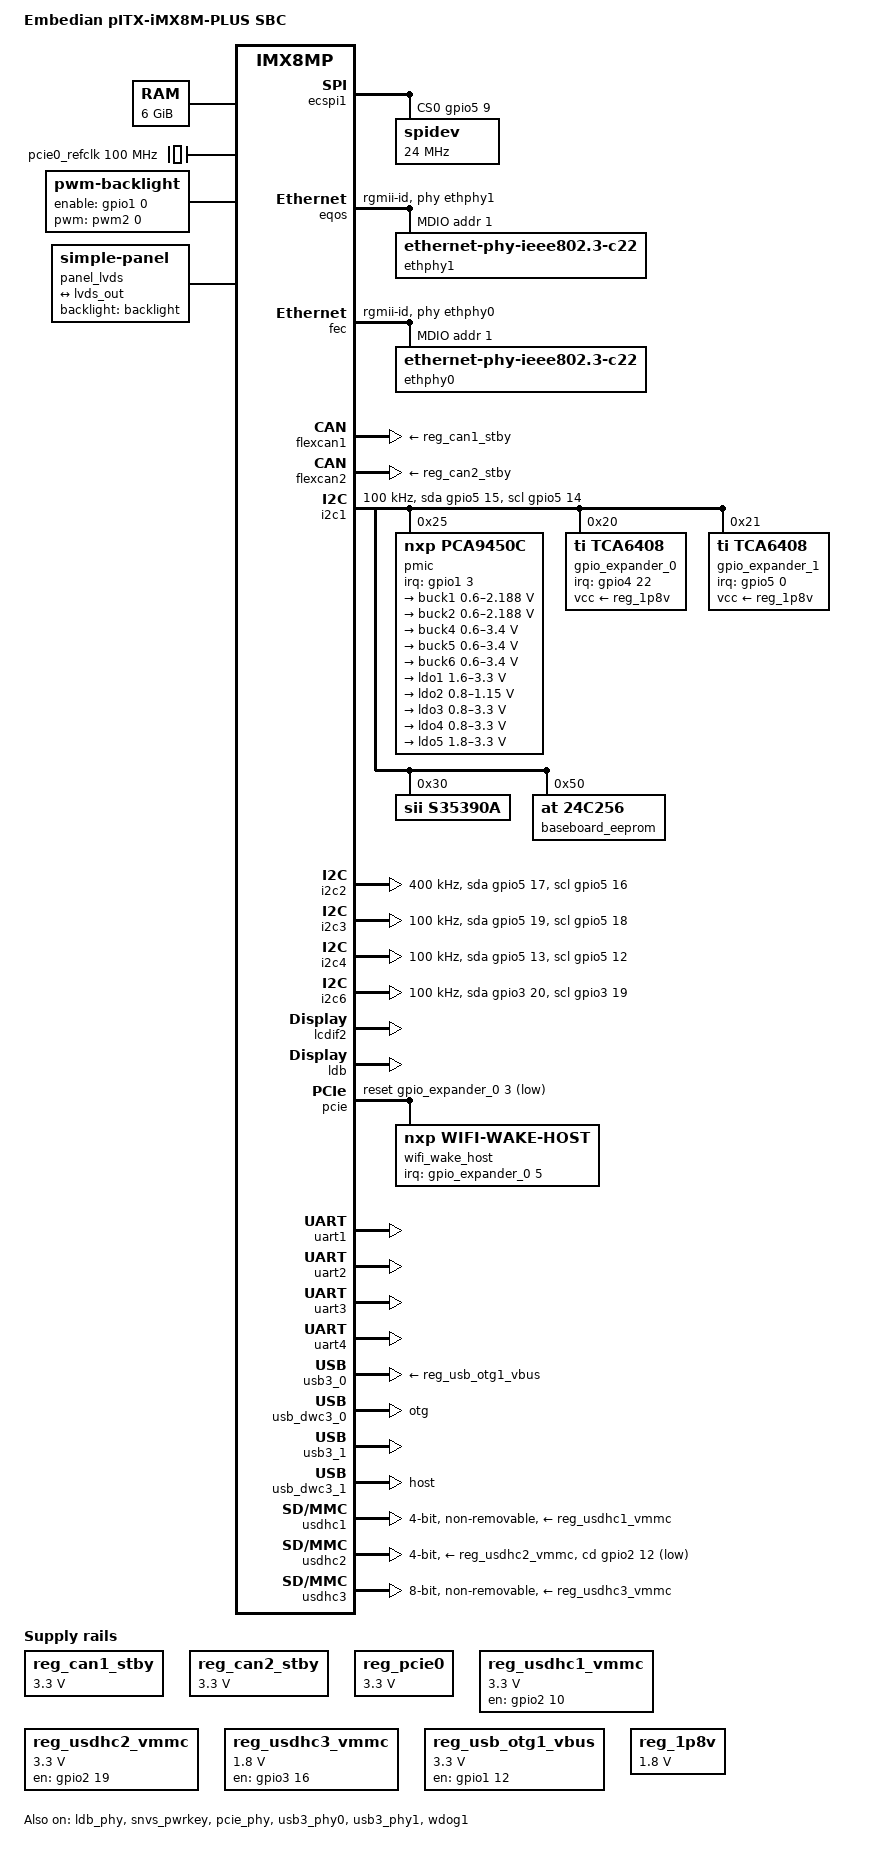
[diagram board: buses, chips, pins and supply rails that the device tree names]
// SPDX-License-Identifier: (GPL-2.0+ OR MIT)
/*
 * Copyright 2019 NXP
 * Copyright 2025 Embedian, Inc.
 */

/dts-v1/;

#include <dt-bindings/phy/phy-imx8-pcie.h>
#include <dt-bindings/usb/pd.h>
#include "imx8mp.dtsi"

/ {
	model = "Embedian pITX-iMX8M-PLUS SBC";
	compatible = "embedian,imx8mp-pitx", "fsl,imx8mp";

	chosen {
		bootargs = "console=ttymxc3,115200 earlycon=ec_imx6q,0x30a60000,115200";
		stdout-path = &uart4;
	};

	memory@40000000 {
		device_type = "memory";
		reg = <0x0 0x40000000 0 0xc0000000>,
		      <0x1 0x00000000 0 0xc0000000>;
	};

	pcie0_refclk: pcie0-refclk {
		compatible = "fixed-clock";
		#clock-cells = <0>;
		clock-frequency = <100000000>;
	};

	reg_can1_stby: regulator-can1-stby {
		compatible = "regulator-fixed";
		regulator-name = "can1-stby";
		regulator-min-microvolt = <3300000>;
		regulator-max-microvolt = <3300000>;
	};

	reg_can2_stby: regulator-can2-stby {
		compatible = "regulator-fixed";
		regulator-name = "can2-stby";
		regulator-min-microvolt = <3300000>;
		regulator-max-microvolt = <3300000>;
	};

	reg_pcie0: regulator-pcie {
		compatible = "regulator-fixed";
		pinctrl-names = "default";
		regulator-name = "MPCIE_3V3";
		regulator-min-microvolt = <3300000>;
		regulator-max-microvolt = <3300000>;
		regulator-always-on;
	};

        reg_usdhc1_vmmc: regulator-usdhc1 {
                compatible = "regulator-fixed";
                pinctrl-names = "default";
                pinctrl-0 = <&pinctrl_reg_usdhc1_vmmc>;
                regulator-name = "VSD1_3V3";
                regulator-min-microvolt = <3300000>;
                regulator-max-microvolt = <3300000>;
                gpio = <&gpio2 10 GPIO_ACTIVE_HIGH>;
                enable-active-high;
        };

	reg_usdhc2_vmmc: regulator-usdhc2 {
		compatible = "regulator-fixed";
		pinctrl-names = "default";
		pinctrl-0 = <&pinctrl_reg_usdhc2_vmmc>;
		regulator-name = "VSD2_3V3";
		regulator-min-microvolt = <3300000>;
		regulator-max-microvolt = <3300000>;
		gpio = <&gpio2 19 GPIO_ACTIVE_HIGH>;
		enable-active-high;
	};

	reg_usdhc3_vmmc: regulator-usdhc3 {
		compatible = "regulator-fixed";
		pinctrl-names = "default";
		pinctrl-0 = <&pinctrl_reg_usdhc3_vmmc>;
		regulator-min-microvolt = <1800000>;
		regulator-max-microvolt = <1800000>;
		gpio = <&gpio3 16 GPIO_ACTIVE_HIGH>;
		enable-active-high;
	};

	reg_usb_otg1_vbus: usbotg1_regulator {
		compatible = "regulator-fixed";
		regulator-name = "usb_otg1_vbus";
		regulator-min-microvolt = <3300000>;
		regulator-max-microvolt = <3300000>;
		gpio = <&gpio1 12 GPIO_ACTIVE_HIGH>;
		enable-active-high;
		regulator-always-on;
	};

	reg_1p8v: 1p8v {
		compatible = "regulator-fixed";
		regulator-name = "1P8V";
		regulator-min-microvolt = <1800000>;
		regulator-max-microvolt = <1800000>;
		regulator-always-on;
	};

	backlight: backlight {
		compatible = "pwm-backlight";
		pwms = <&pwm2 0 100000 0>;
		enable-gpios = <&gpio1 0 0>;	/* Enable LCD0_BKLT pin */
		status = "okay";

		brightness-levels = < 0  1  2  3  4  5  6  7  8  9
				     10 11 12 13 14 15 16 17 18 19
				     20 21 22 23 24 25 26 27 28 29
				     30 31 32 33 34 35 36 37 38 39
				     40 41 42 43 44 45 46 47 48 49
				     50 51 52 53 54 55 56 57 58 59
				     60 61 62 63 64 65 66 67 68 69
				     70 71 72 73 74 75 76 77 78 79
				     80 81 82 83 84 85 86 87 88 89
				     90 91 92 93 94 95 96 97 98 99
				    100>;
		default-brightness-level = <80>;
	};

	panel_lvds: panel-lvds {
		bootph-pre-ram;
		compatible = "simple-panel";
		status= "okay";
		backlight = <&backlight>;
		width-mm = <153>;
		height-mm = <86>;
		data-mapping = "jeida-24";
		display-timings {
			native-mode = <&timing0>;
			timing0: timing0 {
				bootph-pre-ram;
				clock-frequency = <74250000>;
				hactive = <800>;
				vactive = <480>;
				hback-porch = <40>;
				hfront-porch = <40>;
				vback-porch = <29>;
				vfront-porch = <13>;
				hsync-len = <48>;
				vsync-len = <3>;
				de-active = <1>;
			};
		};
		port@0 {
			lvds_in: endpoint {
				remote-endpoint = <&lvds_out>;
			};
		};
	};
};

/* SPI (on PIO) */
&ecspi1 {
	#address-cells = <1>;
	#size-cells = <0>;
	pinctrl-names = "default";
	pinctrl-0 = <&pinctrl_ecspi1>;
	cs-gpios = <&gpio5 9 0>;
	fsl,spi-num-chipselects = <1>;
	status = "okay";
	spidev@0 {
		reg = <0>;
		spi-max-frequency = <24000000>;
	};
};

&A53_0 {
	cpu-supply = <&buck2>;
};

&A53_1 {
	cpu-supply = <&buck2>;
};

&A53_2 {
	cpu-supply = <&buck2>;
};

&A53_3 {
	cpu-supply = <&buck2>;
};

&eqos {
	pinctrl-names = "default";
	pinctrl-0 = <&pinctrl_eqos>;
	phy-mode = "rgmii-id";
	phy-handle = <&ethphy1>;
	snps,force_thresh_dma_mode;
	snps,mtl-tx-config = <&mtl_tx_setup>;
	snps,mtl-rx-config = <&mtl_rx_setup>;
	status = "okay";

	mdio {
		compatible = "snps,dwmac-mdio";
		#address-cells = <1>;
		#size-cells = <0>;

		ethphy1: ethernet-phy@1 {
			compatible = "ethernet-phy-ieee802.3-c22";
			reg = <1>;
			realtek,clkout-disable;
		};
	};

	mtl_tx_setup: tx-queues-config {
		snps,tx-queues-to-use = <5>;
		snps,tx-sched-sp;
		queue0 {
			snps,dcb-algorithm;
			snps,priority = <0x1>;
		};
		queue1 {
			snps,dcb-algorithm;
			snps,priority = <0x2>;
		};
		queue2 {
			snps,dcb-algorithm;
			snps,priority = <0x4>;
		};
		queue3 {
			snps,dcb-algorithm;
			snps,priority = <0x8>;
		};
		queue4 {
			snps,dcb-algorithm;
			snps,priority = <0xf0>;
		};
	};
	mtl_rx_setup: rx-queues-config {
		snps,rx-queues-to-use = <5>;
		snps,rx-sched-sp;
		queue0 {
			snps,dcb-algorithm;
			snps,priority = <0x1>;
			snps,map-to-dma-channel = <0>;
		};
		queue1 {
			snps,dcb-algorithm;
			snps,priority = <0x2>;
			snps,map-to-dma-channel = <1>;
		};
		queue2 {
			snps,dcb-algorithm;
			snps,priority = <0x4>;
			snps,map-to-dma-channel = <2>;
		};
		queue3 {
			snps,dcb-algorithm;
			snps,priority = <0x8>;
			snps,map-to-dma-channel = <3>;
		};
		queue4 {
			snps,dcb-algorithm;
			snps,priority = <0xf0>;
			snps,map-to-dma-channel = <4>;
		};
	};
};

&fec {
	pinctrl-names = "default";
	pinctrl-0 = <&pinctrl_fec>;
	phy-mode = "rgmii-id";
	phy-handle = <&ethphy0>;
	fsl,magic-packet;
	status = "okay";

	mdio {
		#address-cells = <1>;
		#size-cells = <0>;

		ethphy0: ethernet-phy@1 {
			compatible = "ethernet-phy-ieee802.3-c22";
			reg = <1>;
			eee-broken-1000t;
			realtek,aldps-enable;
			realtek,clkout-disable;
		};
	};
};

&flexcan1 {
	pinctrl-names = "default";
	pinctrl-0 = <&pinctrl_flexcan1>;
	xceiver-supply = <&reg_can1_stby>;
	status = "okay";
};

&flexcan2 {
	pinctrl-names = "default";
	pinctrl-0 = <&pinctrl_flexcan2>;
	xceiver-supply = <&reg_can2_stby>;
	status = "okay";
};

/* I2C1 */
&i2c1 {
	clock-frequency = <100000>;
	pinctrl-names = "default", "gpio";
	pinctrl-0 = <&pinctrl_i2c1>;
	pinctrl-1 = <&pinctrl_i2c1_gpio>;
	scl-gpios = <&gpio5 14 GPIO_ACTIVE_HIGH>;
	sda-gpios = <&gpio5 15 GPIO_ACTIVE_HIGH>;
	status = "okay";

	pmic@25 {
		compatible = "nxp,pca9450c";
		reg = <0x25>;
		pinctrl-names = "default";
		pinctrl-0 = <&pinctrl_pmic>;
		interrupt-parent = <&gpio1>;
		interrupts = <3 IRQ_TYPE_LEVEL_LOW>;

		regulators {
			buck1: BUCK1 {
				regulator-name = "BUCK1";
				regulator-min-microvolt = <600000>;
				regulator-max-microvolt = <2187500>;
				regulator-boot-on;
				regulator-always-on;
				regulator-ramp-delay = <3125>;
			};

			buck2: BUCK2 {
				regulator-name = "BUCK2";
				regulator-min-microvolt = <600000>;
				regulator-max-microvolt = <2187500>;
				regulator-boot-on;
				regulator-always-on;
				regulator-ramp-delay = <3125>;
				nxp,dvs-run-voltage = <950000>;
				nxp,dvs-standby-voltage = <850000>;
			};

			buck4: BUCK4{
				regulator-name = "BUCK4";
				regulator-min-microvolt = <600000>;
				regulator-max-microvolt = <3400000>;
				regulator-boot-on;
				regulator-always-on;
			};

			buck5: BUCK5{
				regulator-name = "BUCK5";
				regulator-min-microvolt = <600000>;
				regulator-max-microvolt = <3400000>;
				regulator-boot-on;
				regulator-always-on;
			};

			buck6: BUCK6 {
				regulator-name = "BUCK6";
				regulator-min-microvolt = <600000>;
				regulator-max-microvolt = <3400000>;
				regulator-boot-on;
				regulator-always-on;
			};

			ldo1: LDO1 {
				regulator-name = "LDO1";
				regulator-min-microvolt = <1600000>;
				regulator-max-microvolt = <3300000>;
				regulator-boot-on;
				regulator-always-on;
			};

			ldo2: LDO2 {
				regulator-name = "LDO2";
				regulator-min-microvolt = <800000>;
				regulator-max-microvolt = <1150000>;
				regulator-boot-on;
				regulator-always-on;
			};

			ldo3: LDO3 {
				regulator-name = "LDO3";
				regulator-min-microvolt = <800000>;
				regulator-max-microvolt = <3300000>;
				regulator-boot-on;
				regulator-always-on;
			};

			ldo4: LDO4 {
				regulator-name = "LDO4";
				regulator-min-microvolt = <800000>;
				regulator-max-microvolt = <3300000>;
				regulator-boot-on;
				regulator-always-on;
			};

			ldo5: LDO5 {
				regulator-name = "LDO5";
				regulator-min-microvolt = <1800000>;
				regulator-max-microvolt = <3300000>;
				regulator-boot-on;
				regulator-always-on;
			};
		};
	};

	/*
	 * TCA6408 GPIO expander
	 *  0-WLAN_PWR_EN
	 *  1-M2_W_DISABLE1#
	 *  2-M2_W_DISABLE2#
	 *  3-M2_RESET#
	 *  4-PCIE_A_CKREQ#
	 *  5-PCIE_A_WAKE#
	 *  6-UART_WAKE#
	 *  7-
	*/
	gpio_expander_0: gpio-expander@20 {
		compatible = "ti,tca6408";
		reg = <0x20>;
		gpio-controller;
		vcc-supply = <&reg_1p8v>;
		#gpio-cells = <2>;
		interrupt-controller;
		#interrupt-cells = <2>;
		pinctrl-names = "default";
		pinctrl-0 = <&pinctrl_pca6408_a_int>;
		interrupt-parent = <&gpio4>;
		interrupts = <22 IRQ_TYPE_LEVEL_LOW>;

		wlan_pwr_en_hog {
			gpio-hog;
			gpios = <0 GPIO_ACTIVE_HIGH>;
			output-high;
			line-name = "wlan_pwr_en";
		};
		m2_w_disable1_hog {
			gpio-hog;
			gpios = <1 GPIO_ACTIVE_LOW>;
			output-high;
			line-name = "m2_w_disable1";
		};
		m2_w_disable2_hog {
			gpio-hog;
			gpios = <2 GPIO_ACTIVE_LOW>;
			output-high;
			line-name = "m2_w_disable2";
		};
		m2_reset_hog {
			gpio-hog;
			gpios = <3 GPIO_ACTIVE_LOW>;
			output;
			line-name = "m2_reset";
		};
		pcie_a_ckreq_hog {
			gpio-hog;
			gpios = <4 GPIO_ACTIVE_LOW>;
			input;
			line-name = "pcie_a_ckreq";
		};
		pcie_a_wake_hog {
			gpio-hog;
			gpios = <5 GPIO_ACTIVE_LOW>;
			input;
			line-name = "pcie_a_wake";
		};
		uart_wake_hog {
			gpio-hog;
			gpios = <6 GPIO_ACTIVE_LOW>;
			input;
			line-name = "uart_wake";
		};
	};

	/*
	 * TCA6408 GPIO expander
	 *  0-WWLAN_PWR_EN
	 *  1-WWAN_DISABLE1#
	 *  2-WWAN_DISABLE2#
	 *  3-WWAN_PERST#
	 *  4-NC
	 *  5-WWAN_WAKE#
	 *  6-NC
	 *  7-UIM_CD
	 */
	gpio_expander_1: gpio-expander@21 {
		compatible = "ti,tca6408";
		reg = <0x21>;
		gpio-controller;
		vcc-supply = <&reg_1p8v>;
		#gpio-cells = <2>;
		interrupt-controller;
		#interrupt-cells = <2>;
		pinctrl-names = "default";
		pinctrl-0 = <&pinctrl_pca6408_b_int>;
		interrupt-parent = <&gpio5>;
		interrupts = <0 IRQ_TYPE_LEVEL_LOW>;

		wwan_pwr_en_hog {
			gpio-hog;
			gpios = <0 GPIO_ACTIVE_HIGH>;
			output-high;
			line-name = "wwan_pwr_en";
		};
		wwan_w_disable1_hog {
			gpio-hog;
			gpios = <1 GPIO_ACTIVE_LOW>;
			output-high;
			line-name = "wwan_w_disable1";
		};
		wwan_w_disable2_hog {
			gpio-hog;
			gpios = <2 GPIO_ACTIVE_LOW>;
			output-high;
			line-name = "wwan_w_disable2";
		};
		wwan_perst_hog {
			gpio-hog;
			gpios = <3 GPIO_ACTIVE_LOW>;
			output;
			line-name = "wwan_perst";
		};
		wwan_wake_hog {
			gpio-hog;
			gpios = <5 GPIO_ACTIVE_LOW>;
			input;
			line-name = "wwan_wake";
		};
		uim_cd_hog {
			gpio-hog;
			gpios = <7 GPIO_ACTIVE_HIGH>;
			input;
			line-name = "uim_cd";
		};
	};


	s35390a: s35390a@30 {
		compatible = "sii,s35390a";
		reg = <0x30>;
	};

	baseboard_eeprom: baseboard_eeprom@50 {
		compatible = "at,24c256";
		reg = <0x50>;
	};
};

/* I2C2 (LVDS) */
&i2c2 {
	clock-frequency = <400000>;
	pinctrl-names = "default", "gpio";
	pinctrl-0 = <&pinctrl_i2c2>;
	pinctrl-1 = <&pinctrl_i2c2_gpio>;
	scl-gpios = <&gpio5 16 GPIO_ACTIVE_HIGH>;
	sda-gpios = <&gpio5 17 GPIO_ACTIVE_HIGH>;
	status = "okay";
};

/* I2C3 (on pIO) */
&i2c3 {
	clock-frequency = <100000>;
	pinctrl-names = "default", "gpio";
	pinctrl-0 = <&pinctrl_i2c3>;
	pinctrl-1 = <&pinctrl_i2c3_gpio>;
	scl-gpios = <&gpio5 18 GPIO_ACTIVE_HIGH>;
	sda-gpios = <&gpio5 19 GPIO_ACTIVE_HIGH>;
	status = "okay";
};

/* I2C4 (on CAM2 and pIO) */
&i2c4 {
	clock-frequency = <100000>;
	pinctrl-names = "default", "gpio";
	pinctrl-0 = <&pinctrl_i2c4>;
	pinctrl-1 = <&pinctrl_i2c4_gpio>;
	scl-gpios = <&gpio5 12 GPIO_ACTIVE_HIGH>;
	sda-gpios = <&gpio5 13 GPIO_ACTIVE_HIGH>;
	status = "okay";
};

/* I2C6 (on CAM1)*/
&i2c6 {
	clock-frequency = <100000>;
	pinctrl-names = "default", "gpio";
	pinctrl-0 = <&pinctrl_i2c6>;
	scl-gpios = <&gpio3 19 GPIO_ACTIVE_HIGH>;
	sda-gpios = <&gpio3 20 GPIO_ACTIVE_HIGH>;
	status = "okay";
};

/* MIPI-DSI */
&lcdif1 {
	status = "disabled";
};

/* LVDS */
&lcdif2 {
	status = "okay";
};

&ldb {
	status = "okay";

	lvds-channel@0 {
		fsl,data-mapping = "spwg";
		fsl,data-width = <24>;
		status = "okay";

		port@1 {
			reg = <1>;

			lvds_out: endpoint {
				remote-endpoint = <&lvds_in>;
			};
		};
	};
};

&ldb_phy {
	status = "okay";
};

&mipi_dsi {
	status = "disabled";
};

&snvs_pwrkey {
	status = "okay";
};

&pcie{
	pinctrl-names = "default";
	pinctrl-0 = <&pinctrl_pcie0>;
	reset-gpio = <&gpio_expander_0 3 GPIO_ACTIVE_LOW>;
	host-wake-gpio = <&gpio_expander_0 5 GPIO_ACTIVE_LOW>;
	vpcie-supply = <&reg_pcie0>;
	status = "okay";

	wifi_wake_host {
		compatible = "nxp,wifi-wake-host";
		interrupt-parent = <&gpio_expander_0>;
		interrupts = <5 IRQ_TYPE_LEVEL_LOW>;
		interrupt-names = "host-wake";
	};
};

&pcie_phy{
	fsl,refclk-pad-mode = <IMX8_PCIE_REFCLK_PAD_INPUT>;
	clocks = <&pcie0_refclk>;
	clock-names = "ref";
	status = "okay";
};

&uart1 { 
	/* M.2 */
	pinctrl-names = "default";
	pinctrl-0 = <&pinctrl_uart1>;
	status = "okay";
};

&uart2 {
	/* pIO */
	pinctrl-names = "default";
	pinctrl-0 = <&pinctrl_uart2>;
	status = "okay";
};

&uart3 {
	/* pIO */
	pinctrl-names = "default";
	pinctrl-0 = <&pinctrl_uart3>;
	status = "okay";
};

&uart4 {
	/* console */
	pinctrl-names = "default";
	pinctrl-0 = <&pinctrl_uart4>;
	status = "okay";
};

&usb3_phy0 {
	fsl,phy-tx-vref-tune = <0xe>;
	fsl,phy-tx-preemp-amp-tune = <3>;
	fsl,phy-tx-vboost-level = <5>;
	fsl,phy-comp-dis-tune = <7>;
	fsl,pcs-tx-deemph-3p5db = <0x21>;
	fsl,phy-pcs-tx-swing-full = <0x7f>;
	status = "okay";
};

&usb3_0 {
	pinctrl-names = "default";
	pinctrl-0 = <&pinctrl_usbotg1>;
	vbus-supply = <&reg_usb_otg1_vbus>;
	status = "okay";
};

&usb_dwc3_0 {
	dr_mode = "otg";
	hnp-disable;
	srp-disable;
	adp-disable;
	usb-role-switch;
	role-switch-default-mode = "peripheral";
	snps,dis-u1-entry-quirk;
	snps,dis-u2-entry-quirk;
	status = "okay";
};

&usb3_phy1 {
	fsl,phy-tx-preemp-amp-tune = <3>;
	fsl,phy-tx-vref-tune = <0xb>;
	status = "okay";
};

&usb3_1 {
	status = "okay";
};

&usb_dwc3_1 {
	dr_mode = "host";
	status = "okay";
};

/* M.2 */
&usdhc1 {
	assigned-clocks = <&clk IMX8MP_CLK_USDHC1>;
	assigned-clock-rates = <400000000>;
	pinctrl-names = "default", "state_100mhz", "state_200mhz";
	pinctrl-0 = <&pinctrl_usdhc1>;
	pinctrl-1 = <&pinctrl_usdhc1_100mhz>;
	pinctrl-2 = <&pinctrl_usdhc1_200mhz>;
	vmmc-supply = <&reg_usdhc1_vmmc>;
	bus-width = <4>;
	pm-ignore-notify;
	keep-power-in-suspend;
	non-removable;
	cap-power-off-card;
	status = "okay";
};

/* SD Card */
&usdhc2 {
	assigned-clocks = <&clk IMX8MP_CLK_USDHC2>;
	assigned-clock-rates = <400000000>;
	pinctrl-names = "default", "state_100mhz", "state_200mhz";
	pinctrl-0 = <&pinctrl_usdhc2>, <&pinctrl_usdhc2_gpio>;
	pinctrl-1 = <&pinctrl_usdhc2_100mhz>, <&pinctrl_usdhc2_gpio>;
	pinctrl-2 = <&pinctrl_usdhc2_200mhz>, <&pinctrl_usdhc2_gpio>;
	cd-gpios = <&gpio2 12 GPIO_ACTIVE_LOW>;
	vmmc-supply = <&reg_usdhc2_vmmc>;
	bus-width = <4>;
	status = "okay";
};

/* eMMC */
&usdhc3 {
	assigned-clocks = <&clk IMX8MP_CLK_USDHC3>;
	assigned-clock-rates = <400000000>;
	pinctrl-names = "default", "state_100mhz", "state_200mhz";
	pinctrl-0 = <&pinctrl_usdhc3>;
	pinctrl-1 = <&pinctrl_usdhc3_100mhz>;
	pinctrl-2 = <&pinctrl_usdhc3_200mhz>;
	bus-width = <8>;
	vmmc-supply = <&reg_usdhc3_vmmc>;
	non-removable;
	status = "okay";
};

&wdog1 {
	pinctrl-names = "default";
	pinctrl-0 = <&pinctrl_wdog>;
	fsl,ext-reset-output;
	status = "okay";
};

&iomuxc {
	pinctrl-names = "default";
	pinctrl-0 = <&pinctrl_hog>;

	pinctrl_hog: hoggrp {
		fsl,pins = <
			MX8MP_IOMUXC_HDMI_DDC_SCL__HDMIMIX_HDMI_SCL	0x400001c2
			MX8MP_IOMUXC_HDMI_DDC_SDA__HDMIMIX_HDMI_SDA	0x400001c2
			MX8MP_IOMUXC_HDMI_HPD__HDMIMIX_HDMI_HPD		0x40000010
			MX8MP_IOMUXC_HDMI_CEC__HDMIMIX_HDMI_CEC		0x40000010
			MX8MP_IOMUXC_SAI1_TXD6__GPIO4_IO18	0x19	/* LCD0_BKLT_EN */
			MX8MP_IOMUXC_SAI1_MCLK__GPIO4_IO20	0x19	/* LCD1_BKLT_EN */
			MX8MP_IOMUXC_SAI1_RXC__GPIO4_IO01	0x19	/* LCD0_VDD_EN */
			MX8MP_IOMUXC_SD2_WP__GPIO2_IO20		0x41	/* M.2_IRQ# */
			MX8MP_IOMUXC_SAI1_TXD7__GPIO4_IO19	0x141	/* TPM_IRQ# */
			MX8MP_IOMUXC_ECSPI2_MOSI__GPIO5_IO11	0x41	/* TPM_PP */
			MX8MP_IOMUXC_ECSPI2_SCLK__GPIO5_IO10	0x41	/* TPM_LP */
			MX8MP_IOMUXC_GPIO1_IO15__GPIO1_IO15	0x41	/* TS_INT# */
			MX8MP_IOMUXC_NAND_DQS__GPIO3_IO14	0x19	/* USB2_HUB_EN */
			MX8MP_IOMUXC_NAND_DATA00__GPIO3_IO06	0x19	/* CAM1_PWR# */
			MX8MP_IOMUXC_NAND_DATA01__GPIO3_IO07	0x19	/* CAM1_RST# */
			MX8MP_IOMUXC_SAI3_RXC__GPIO4_IO29	0x41	/* CAM1_VSYNC */
			MX8MP_IOMUXC_NAND_DATA02__GPIO3_IO08	0x19	/* CAM2_PWR# */
			MX8MP_IOMUXC_NAND_DATA03__GPIO3_IO09	0x19	/* CAM2_RST# */
			MX8MP_IOMUXC_SPDIF_EXT_CLK__GPIO5_IO05	0x19	/* EIO_PWR_EN */
			MX8MP_IOMUXC_SAI1_RXFS__GPIO4_IO00	0x41	/* CAM2_VSYNC */
			MX8MP_IOMUXC_SAI2_RXC__GPIO4_IO22	0x19
		>;
	};

	pinctrl_wdt: wdtgrp {
		fsl,pins = <
			MX8MP_IOMUXC_SAI2_MCLK__GPIO4_IO27	0x19	/* WDT_EN */
			MX8MP_IOMUXC_SAI1_RXD0__GPIO4_IO02	0x19	/* WDT_T_ME_OUT# */
		>;
	};

	pinctrl_pwm1: pwm1grp {
		fsl,pins = <
			MX8MP_IOMUXC_GPIO1_IO01__PWM1_OUT	0x116
		>;
	};

	pinctrl_pwm2: pwm2grp {
		fsl,pins = <
			MX8MP_IOMUXC_SAI5_RXD0__PWM2_OUT	0x116
		>;
	};

	pinctrl_pwm3: pwm3grp {
		fsl,pins = <
			MX8MP_IOMUXC_SPDIF_TX__PWM3_OUT		0x116
		>;
	};

	pinctrl_ecspi1: ecspi1grp {
		fsl,pins = <
			MX8MP_IOMUXC_ECSPI1_SCLK__ECSPI1_SCLK	0x82
			MX8MP_IOMUXC_ECSPI1_MOSI__ECSPI1_MOSI	0x82
			MX8MP_IOMUXC_ECSPI1_MISO__ECSPI1_MISO	0x82
		>;
	};

	pinctrl_ecspi1_cs: ecspi1cs {
		fsl,pins = <
			MX8MP_IOMUXC_ECSPI1_SS0__GPIO5_IO09	0x40000
		>;
	};

	pinctrl_ecspi2: ecspi2grp {
		fsl,pins = <
			MX8MP_IOMUXC_ECSPI2_SCLK__ECSPI2_SCLK	0x82
			MX8MP_IOMUXC_ECSPI2_MOSI__ECSPI2_MOSI	0x82
			MX8MP_IOMUXC_ECSPI2_MISO__ECSPI2_MISO	0x82
		>;
	};

	pinctrl_ecspi2_cs: ecspi2cs {
		fsl,pins = <
			MX8MP_IOMUXC_ECSPI2_SS0__GPIO5_IO13	0x40000
		>;
	};

	pinctrl_ecspi3: ecspi3grp {
		fsl,pins = <
			MX8MP_IOMUXC_UART1_RXD__ECSPI3_SCLK	0x82
			MX8MP_IOMUXC_UART1_TXD__ECSPI3_MOSI	0x82
			MX8MP_IOMUXC_UART2_RXD__ECSPI3_MISO	0x82
		>;
	};

	pinctrl_ecspi3_cs: ecspi3cs {
		fsl,pins = <
			MX8MP_IOMUXC_UART2_TXD__GPIO5_IO25	0x40000
			MX8MP_IOMUXC_UART3_RXD__GPIO5_IO26	0x40000
		>;
	};

	pinctrl_eqos: eqosgrp {
		fsl,pins = <
			MX8MP_IOMUXC_ENET_MDC__ENET_QOS_MDC				0x2
			MX8MP_IOMUXC_ENET_MDIO__ENET_QOS_MDIO				0x2
			MX8MP_IOMUXC_ENET_RD0__ENET_QOS_RGMII_RD0			0x90
			MX8MP_IOMUXC_ENET_RD1__ENET_QOS_RGMII_RD1			0x90
			MX8MP_IOMUXC_ENET_RD2__ENET_QOS_RGMII_RD2			0x90
			MX8MP_IOMUXC_ENET_RD3__ENET_QOS_RGMII_RD3			0x90
			MX8MP_IOMUXC_ENET_RXC__CCM_ENET_QOS_CLOCK_GENERATE_RX_CLK	0x90
			MX8MP_IOMUXC_ENET_RX_CTL__ENET_QOS_RGMII_RX_CTL			0x90
			MX8MP_IOMUXC_ENET_TD0__ENET_QOS_RGMII_TD0			0x16
			MX8MP_IOMUXC_ENET_TD1__ENET_QOS_RGMII_TD1			0x16
			MX8MP_IOMUXC_ENET_TD2__ENET_QOS_RGMII_TD2			0x16
			MX8MP_IOMUXC_ENET_TD3__ENET_QOS_RGMII_TD3			0x16
			MX8MP_IOMUXC_ENET_TX_CTL__ENET_QOS_RGMII_TX_CTL			0x16
			MX8MP_IOMUXC_ENET_TXC__CCM_ENET_QOS_CLOCK_GENERATE_TX_CLK	0x16
			MX8MP_IOMUXC_SAI2_RXFS__GPIO4_IO21				0x42
		>;
	};

	pinctrl_fec: fecgrp {
		fsl,pins = <
			MX8MP_IOMUXC_SAI1_RXD2__ENET1_MDC		0x2
			MX8MP_IOMUXC_SAI1_RXD3__ENET1_MDIO		0x2
			MX8MP_IOMUXC_SAI1_RXD4__ENET1_RGMII_RD0		0x90
			MX8MP_IOMUXC_SAI1_RXD5__ENET1_RGMII_RD1		0x90
			MX8MP_IOMUXC_SAI1_RXD6__ENET1_RGMII_RD2		0x90
			MX8MP_IOMUXC_SAI1_RXD7__ENET1_RGMII_RD3		0x90
			MX8MP_IOMUXC_SAI1_TXC__ENET1_RGMII_RXC		0x90
			MX8MP_IOMUXC_SAI1_TXFS__ENET1_RGMII_RX_CTL	0x90
			MX8MP_IOMUXC_SAI1_TXD0__ENET1_RGMII_TD0		0x16
			MX8MP_IOMUXC_SAI1_TXD1__ENET1_RGMII_TD1		0x16
			MX8MP_IOMUXC_SAI1_TXD2__ENET1_RGMII_TD2		0x16
			MX8MP_IOMUXC_SAI1_TXD3__ENET1_RGMII_TD3		0x16
			MX8MP_IOMUXC_SAI1_TXD4__ENET1_RGMII_TX_CTL	0x16
			MX8MP_IOMUXC_SAI1_TXD5__ENET1_RGMII_TXC		0x16
			MX8MP_IOMUXC_SAI1_RXD1__GPIO4_IO03		0x42
		>;
	};

	pinctrl_flexcan1: flexcan1grp {
		fsl,pins = <
			MX8MP_IOMUXC_SAI5_RXD2__CAN1_RX		0x154
			MX8MP_IOMUXC_SAI5_RXD1__CAN1_TX		0x154
		>;
	};

	pinctrl_flexcan2: flexcan2grp {
		fsl,pins = <
			MX8MP_IOMUXC_SAI5_MCLK__CAN2_RX		0x154
			MX8MP_IOMUXC_SAI5_RXD3__CAN2_TX		0x154
		>;
	};

	pinctrl_flexcan1_reg: flexcan1reggrp {
		fsl,pins = <
			MX8MP_IOMUXC_SPDIF_EXT_CLK__GPIO5_IO05	0x154	/* CAN1_STBY */
		>;
	};

	pinctrl_flexcan2_reg: flexcan2reggrp {
		fsl,pins = <
			MX8MP_IOMUXC_SAI2_MCLK__GPIO4_IO27	0x154	/* CAN2_STBY */
		>;
	};

	pinctrl_flexspi0: flexspi0grp {
		fsl,pins = <
			MX8MP_IOMUXC_NAND_ALE__FLEXSPI_A_SCLK           0x1c2
			MX8MP_IOMUXC_NAND_CE0_B__FLEXSPI_A_SS0_B        0x82
			MX8MP_IOMUXC_NAND_DATA00__FLEXSPI_A_DATA00      0x82
			MX8MP_IOMUXC_NAND_DATA01__FLEXSPI_A_DATA01      0x82
			MX8MP_IOMUXC_NAND_DATA02__FLEXSPI_A_DATA02      0x82
			MX8MP_IOMUXC_NAND_DATA03__FLEXSPI_A_DATA03      0x82
		>;
	};

	pinctrl_gpio_led: gpioledgrp {
		fsl,pins = <
			MX8MP_IOMUXC_I2C4_SDA__GPIO5_IO21	0x19
		>;
	};

	pinctrl_i2c1: i2c1grp {
		fsl,pins = <
			MX8MP_IOMUXC_I2C1_SCL__I2C1_SCL		0x400001c2
			MX8MP_IOMUXC_I2C1_SDA__I2C1_SDA		0x400001c2
		>;
	};

	pinctrl_i2c2: i2c2grp {
		fsl,pins = <
			MX8MP_IOMUXC_I2C2_SCL__I2C2_SCL		0x400001c2
			MX8MP_IOMUXC_I2C2_SDA__I2C2_SDA		0x400001c2
		>;
	};

	pinctrl_i2c3: i2c3grp {
		fsl,pins = <
			MX8MP_IOMUXC_I2C3_SCL__I2C3_SCL		0x400001c2
			MX8MP_IOMUXC_I2C3_SDA__I2C3_SDA		0x400001c2
		>;
	};

	pinctrl_i2c4: i2c4grp {
		fsl,pins = <
			MX8MP_IOMUXC_ECSPI2_MISO__I2C4_SCL	0x400001c3
			MX8MP_IOMUXC_ECSPI2_SS0__I2C4_SDA	0x400001c3
		>;
	};

	pinctrl_i2c6: i2c6grp {
		fsl,pins = <
			MX8MP_IOMUXC_SAI5_RXFS__I2C6_SCL	0x400001c3
			MX8MP_IOMUXC_SAI5_RXC__I2C6_SDA		0x400001c3
		>;
	};

	pinctrl_mipi_dsi_en: mipi_dsi_engrp {
		fsl,pins = <
			MX8MP_IOMUXC_GPIO1_IO08__GPIO1_IO08	0x16
		>;
	};

	pinctrl_pcie0: pcie0grp {
		fsl,pins = <
			MX8MP_IOMUXC_I2C4_SCL__PCIE_CLKREQ_B	0x60	/* open drain, pull up */
		>;
	};

	pinctrl_pca6408_a_int: pca6408_a_intgrp {
		fsl,pins = <
			MX8MP_IOMUXC_SAI2_RXC__GPIO4_IO22	0x146	/* Input pull-up. */
		>;
	};

	pinctrl_pca6408_b_int: pca6408_b_intgrp {
		fsl,pins = <
			MX8MP_IOMUXC_SAI3_TXC__GPIO5_IO00	0x146	/* Input pull-up. */
		>;
	};

	pinctrl_pmic: pmicgrp {
		fsl,pins = <
			MX8MP_IOMUXC_GPIO1_IO03__GPIO1_IO03	0x000001c0
		>;
	};

	pinctrl_reg_usdhc1_vmmc: regusdhc1vmmcgrp {
		fsl,pins = <
			MX8MP_IOMUXC_SD1_RESET_B__GPIO2_IO10	0x41
		>;
	};

	pinctrl_reg_usdhc2_vmmc: regusdhc2vmmcgrp {
		fsl,pins = <
			MX8MP_IOMUXC_SD2_RESET_B__GPIO2_IO19	0x40
		>;
	};

        pinctrl_reg_usdhc3_vmmc: regusdhc3vmmcgrp {
                fsl,pins = <
                        MX8MP_IOMUXC_NAND_READY_B__GPIO3_IO16	0x40
                >;
        };

	pinctrl_i2c1_gpio: i2c1gpiogrp {
		fsl,pins = <
			MX8MP_IOMUXC_I2C1_SCL__GPIO5_IO14		0x1c3
			MX8MP_IOMUXC_I2C1_SDA__GPIO5_IO15		0x1c3
		>;
	};

	pinctrl_i2c2_gpio: i2c2gpiogrp {
		fsl,pins = <
			MX8MP_IOMUXC_I2C2_SCL__GPIO5_IO16		0x1c3
			MX8MP_IOMUXC_I2C2_SDA__GPIO5_IO17		0x1c3
		>;
	};

	pinctrl_i2c3_gpio: i2c3gpiogrp {
		fsl,pins = <
			MX8MP_IOMUXC_I2C3_SCL__GPIO5_IO18		0x1c3
			MX8MP_IOMUXC_I2C3_SDA__GPIO5_IO19		0x1c3
		>;
	};

	pinctrl_i2c4_gpio: i2c4grp-gpio {
		fsl,pins = <
			MX8MP_IOMUXC_ECSPI2_MISO__GPIO5_IO12		0x1c3
			MX8MP_IOMUXC_ECSPI2_SS0__GPIO5_IO13		0x1c3
		>;
	};

	pinctrl_i2c6_gpio: i2c6grp-gpio {
		fsl,pins = <
			MX8MP_IOMUXC_SAI5_RXFS__GPIO3_IO19		0x1c3
			MX8MP_IOMUXC_SAI5_RXC__GPIO3_IO20		0x1c3
		>;
	};

	pinctrl_pdm: pdmgrp {
		fsl,pins = <
			MX8MP_IOMUXC_SAI5_RXC__AUDIOMIX_PDM_CLK		0xd6
			MX8MP_IOMUXC_SAI5_RXD0__AUDIOMIX_PDM_BIT_STREAM00	0xd6
			MX8MP_IOMUXC_SAI5_RXD1__AUDIOMIX_PDM_BIT_STREAM01	0xd6
			MX8MP_IOMUXC_SAI5_RXD2__AUDIOMIX_PDM_BIT_STREAM02	0xd6
			MX8MP_IOMUXC_SAI5_RXD3__AUDIOMIX_PDM_BIT_STREAM03	0xd6
		>;
	};

	pinctrl_sai2: sai2grp {
		fsl,pins = <
			MX8MP_IOMUXC_SAI2_TXC__AUDIOMIX_SAI2_TX_BCLK	0xd6
			MX8MP_IOMUXC_SAI2_TXFS__AUDIOMIX_SAI2_TX_SYNC	0xd6
			MX8MP_IOMUXC_SAI2_TXD0__AUDIOMIX_SAI2_TX_DATA00	0xd6
			MX8MP_IOMUXC_SAI2_RXD0__AUDIOMIX_SAI2_RX_DATA00	0xd6
		>;
	};

	pinctrl_sai3: sai3grp {
		fsl,pins = <
			MX8MP_IOMUXC_SAI3_TXFS__AUDIOMIX_SAI3_TX_SYNC		0xd6
			MX8MP_IOMUXC_NAND_ALE__AUDIOMIX_SAI3_TX_BCLK		0xd6
			MX8MP_IOMUXC_SAI3_RXD__AUDIOMIX_SAI3_RX_DATA00		0xd6
			MX8MP_IOMUXC_NAND_CE0_B__AUDIOMIX_SAI3_TX_DATA00	0xd6
			MX8MP_IOMUXC_SAI3_MCLK__AUDIOMIX_SAI3_MCLK		0xd6
			MX8MP_IOMUXC_SAI3_RXFS__GPIO4_IO28			0x41
		>;
	};

	pinctrl_i2c2_synaptics_dsx_io: synaptics_dsx_iogrp {
		fsl,pins = <
			MX8MP_IOMUXC_GPIO1_IO09__GPIO1_IO09		0x16
		>;
	};

	pinctrl_uart1: uart1grp {
		fsl,pins = <
			MX8MP_IOMUXC_UART1_RXD__UART1_DCE_RX	0x140
			MX8MP_IOMUXC_UART1_TXD__UART1_DCE_TX	0x140
			MX8MP_IOMUXC_UART3_RXD__UART1_DCE_CTS	0x140
			MX8MP_IOMUXC_UART3_TXD__UART1_DCE_RTS	0x140
		>;
	};

	pinctrl_typec: typec1grp {
		fsl,pins = <
			MX8MP_IOMUXC_SAI1_TXD7__GPIO4_IO19	0x1c4
		>;
	};

	pinctrl_typec_mux: typec1muxgrp {
		fsl,pins = <
			MX8MP_IOMUXC_SAI1_MCLK__GPIO4_IO20	0x16
		>;
	};

	pinctrl_uart2: uart2grp {
		fsl,pins = <
			MX8MP_IOMUXC_UART2_RXD__UART2_DCE_RX	0x140
			MX8MP_IOMUXC_UART2_TXD__UART2_DCE_TX	0x140
			MX8MP_IOMUXC_SD1_DATA4__UART2_DCE_RTS	0x140
			MX8MP_IOMUXC_SD1_DATA5__UART2_DCE_CTS	0x140
		>;
	};

	pinctrl_uart3: uart3grp {
		fsl,pins = <
			MX8MP_IOMUXC_SD1_DATA7__UART3_DCE_RX	0x140
			MX8MP_IOMUXC_SD1_DATA6__UART3_DCE_TX	0x140
		>;
	};

	pinctrl_uart4: uart4grp {
		fsl,pins = <
			MX8MP_IOMUXC_UART4_RXD__UART4_DCE_RX	0x140
			MX8MP_IOMUXC_UART4_TXD__UART4_DCE_TX	0x140
		>;
	};

	pinctrl_usb1_vbus: usb1grp {
		fsl,pins = <
			MX8MP_IOMUXC_GPIO1_IO12__GPIO1_IO12	0x10
		>;
	};

	pinctrl_usbotg1: usbotg1grp {
		fsl,pins = <
			MX8MP_IOMUXC_GPIO1_IO10__USB1_ID	0x41	/* USB1_ID */
			MX8MP_IOMUXC_GPIO1_IO13__GPIO1_IO13	0x41	/* USB1_OC# */
		>;
	};

	pinctrl_usdhc1: usdhc1grp {
		fsl,pins = <
			MX8MP_IOMUXC_SD1_CLK__USDHC1_CLK	0x190
			MX8MP_IOMUXC_SD1_CMD__USDHC1_CMD	0x1d0
			MX8MP_IOMUXC_SD1_DATA0__USDHC1_DATA0	0x1d0
			MX8MP_IOMUXC_SD1_DATA1__USDHC1_DATA1	0x1d0
			MX8MP_IOMUXC_SD1_DATA2__USDHC1_DATA2	0x1d0
			MX8MP_IOMUXC_SD1_DATA3__USDHC1_DATA3	0x1d0
			MX8MP_IOMUXC_SD1_STROBE__USDHC1_STROBE	0x190
		>;
	};

	pinctrl_usdhc1_100mhz: usdhc1-100mhzgrp {
		fsl,pins = <
			MX8MP_IOMUXC_SD1_CLK__USDHC1_CLK	0x194
			MX8MP_IOMUXC_SD1_CMD__USDHC1_CMD	0x1d4
			MX8MP_IOMUXC_SD1_DATA0__USDHC1_DATA0	0x1d4
			MX8MP_IOMUXC_SD1_DATA1__USDHC1_DATA1	0x1d4
			MX8MP_IOMUXC_SD1_DATA2__USDHC1_DATA2	0x1d4
			MX8MP_IOMUXC_SD1_DATA3__USDHC1_DATA3	0x1d4
			MX8MP_IOMUXC_SD1_STROBE__USDHC1_STROBE	0x194
		>;
	};

	pinctrl_usdhc1_200mhz: usdhc1-200mhzgrp {
		fsl,pins = <
			MX8MP_IOMUXC_SD1_CLK__USDHC1_CLK	0x196
			MX8MP_IOMUXC_SD1_CMD__USDHC1_CMD	0x1d6
			MX8MP_IOMUXC_SD1_DATA0__USDHC1_DATA0	0x1d6
			MX8MP_IOMUXC_SD1_DATA1__USDHC1_DATA1	0x1d6
			MX8MP_IOMUXC_SD1_DATA2__USDHC1_DATA2	0x1d6
			MX8MP_IOMUXC_SD1_DATA3__USDHC1_DATA3	0x1d6
			MX8MP_IOMUXC_SD1_STROBE__USDHC1_STROBE	0x196
		>;
	};

	pinctrl_usdhc2: usdhc2grp {
		fsl,pins = <
			MX8MP_IOMUXC_SD2_CLK__USDHC2_CLK	0x190
			MX8MP_IOMUXC_SD2_CMD__USDHC2_CMD	0x1d0
			MX8MP_IOMUXC_SD2_DATA0__USDHC2_DATA0	0x1d0
			MX8MP_IOMUXC_SD2_DATA1__USDHC2_DATA1	0x1d0
			MX8MP_IOMUXC_SD2_DATA2__USDHC2_DATA2	0x1d0
			MX8MP_IOMUXC_SD2_DATA3__USDHC2_DATA3	0x1d0
			MX8MP_IOMUXC_GPIO1_IO04__USDHC2_VSELECT	0xc0
		>;
	};

	pinctrl_usdhc2_100mhz: usdhc2-100mhzgrp {
		fsl,pins = <
			MX8MP_IOMUXC_SD2_CLK__USDHC2_CLK	0x194
			MX8MP_IOMUXC_SD2_CMD__USDHC2_CMD	0x1d4
			MX8MP_IOMUXC_SD2_DATA0__USDHC2_DATA0	0x1d4
			MX8MP_IOMUXC_SD2_DATA1__USDHC2_DATA1	0x1d4
			MX8MP_IOMUXC_SD2_DATA2__USDHC2_DATA2	0x1d4
			MX8MP_IOMUXC_SD2_DATA3__USDHC2_DATA3	0x1d4
			MX8MP_IOMUXC_GPIO1_IO04__USDHC2_VSELECT 0xc0
		>;
	};

	pinctrl_usdhc2_200mhz: usdhc2-200mhzgrp {
		fsl,pins = <
			MX8MP_IOMUXC_SD2_CLK__USDHC2_CLK	0x196
			MX8MP_IOMUXC_SD2_CMD__USDHC2_CMD	0x1d6
			MX8MP_IOMUXC_SD2_DATA0__USDHC2_DATA0	0x1d6
			MX8MP_IOMUXC_SD2_DATA1__USDHC2_DATA1	0x1d6
			MX8MP_IOMUXC_SD2_DATA2__USDHC2_DATA2	0x1d6
			MX8MP_IOMUXC_SD2_DATA3__USDHC2_DATA3	0x1d6
			MX8MP_IOMUXC_GPIO1_IO04__USDHC2_VSELECT 0xc0
		>;
	};

	pinctrl_usdhc2_gpio: usdhc2gpiogrp {
		fsl,pins = <
			MX8MP_IOMUXC_SD2_CD_B__GPIO2_IO12	0x1c4
		>;
	};

	pinctrl_usdhc3: usdhc3grp {
		fsl,pins = <
			MX8MP_IOMUXC_NAND_WE_B__USDHC3_CLK	0x190
			MX8MP_IOMUXC_NAND_WP_B__USDHC3_CMD	0x1d0
			MX8MP_IOMUXC_NAND_DATA04__USDHC3_DATA0	0x1d0
			MX8MP_IOMUXC_NAND_DATA05__USDHC3_DATA1	0x1d0
			MX8MP_IOMUXC_NAND_DATA06__USDHC3_DATA2	0x1d0
			MX8MP_IOMUXC_NAND_DATA07__USDHC3_DATA3	0x1d0
			MX8MP_IOMUXC_NAND_RE_B__USDHC3_DATA4	0x1d0
			MX8MP_IOMUXC_NAND_CE2_B__USDHC3_DATA5	0x1d0
			MX8MP_IOMUXC_NAND_CE3_B__USDHC3_DATA6	0x1d0
			MX8MP_IOMUXC_NAND_CLE__USDHC3_DATA7	0x1d0
			MX8MP_IOMUXC_NAND_CE1_B__USDHC3_STROBE	0x190
		>;
	};

	pinctrl_usdhc3_100mhz: usdhc3-100mhzgrp {
		fsl,pins = <
			MX8MP_IOMUXC_NAND_WE_B__USDHC3_CLK	0x194
			MX8MP_IOMUXC_NAND_WP_B__USDHC3_CMD	0x1d4
			MX8MP_IOMUXC_NAND_DATA04__USDHC3_DATA0	0x1d4
			MX8MP_IOMUXC_NAND_DATA05__USDHC3_DATA1	0x1d4
			MX8MP_IOMUXC_NAND_DATA06__USDHC3_DATA2	0x1d4
			MX8MP_IOMUXC_NAND_DATA07__USDHC3_DATA3	0x1d4
			MX8MP_IOMUXC_NAND_RE_B__USDHC3_DATA4	0x1d4
			MX8MP_IOMUXC_NAND_CE2_B__USDHC3_DATA5	0x1d4
			MX8MP_IOMUXC_NAND_CE3_B__USDHC3_DATA6	0x1d4
			MX8MP_IOMUXC_NAND_CLE__USDHC3_DATA7	0x1d4
			MX8MP_IOMUXC_NAND_CE1_B__USDHC3_STROBE	0x194
		>;
	};

	pinctrl_usdhc3_200mhz: usdhc3-200mhzgrp {
		fsl,pins = <
			MX8MP_IOMUXC_NAND_WE_B__USDHC3_CLK	0x196
			MX8MP_IOMUXC_NAND_WP_B__USDHC3_CMD	0x1d6
			MX8MP_IOMUXC_NAND_DATA04__USDHC3_DATA0	0x1d6
			MX8MP_IOMUXC_NAND_DATA05__USDHC3_DATA1	0x1d6
			MX8MP_IOMUXC_NAND_DATA06__USDHC3_DATA2	0x1d6
			MX8MP_IOMUXC_NAND_DATA07__USDHC3_DATA3	0x1d6
			MX8MP_IOMUXC_NAND_RE_B__USDHC3_DATA4	0x1d6
			MX8MP_IOMUXC_NAND_CE2_B__USDHC3_DATA5	0x1d6
			MX8MP_IOMUXC_NAND_CE3_B__USDHC3_DATA6	0x1d6
			MX8MP_IOMUXC_NAND_CLE__USDHC3_DATA7	0x1d6
			MX8MP_IOMUXC_NAND_CE1_B__USDHC3_STROBE	0x196
		>;
	};

	pinctrl_wdog: wdoggrp {
		fsl,pins = <
			MX8MP_IOMUXC_GPIO1_IO02__WDOG1_WDOG_B	0x166
		>;
	};

	pinctrl_csi0_pwn: csi0_pwn_grp {
		fsl,pins = <
			MX8MP_IOMUXC_NAND_DATA00__GPIO3_IO06	0x10
		>;
	};

	pinctrl_csi0_rst: csi0_rst_grp {
		fsl,pins = <
			MX8MP_IOMUXC_NAND_DATA01__GPIO3_IO07	0x10
		>;
	};

	pinctrl_csi_mclk: csi_mclk_grp {
		fsl,pins = <
			MX8MP_IOMUXC_GPIO1_IO14__CCM_CLKO1	0x50
		>;
	};
};

